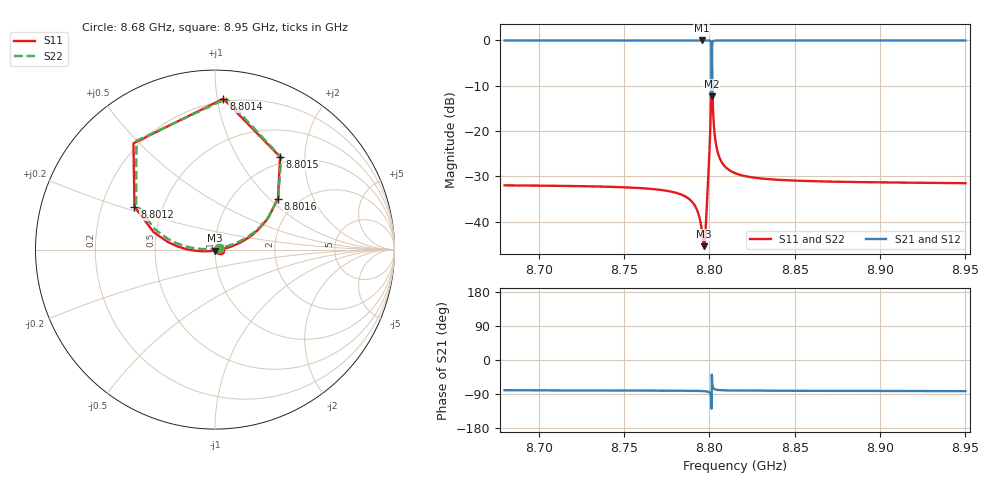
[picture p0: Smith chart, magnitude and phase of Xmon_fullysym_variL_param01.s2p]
! Sonnet Data File
! From: emgraph Version : 16.52
! From Project: 171117_Xmon_fullysym
! Data is De-embedded
! Data File Written: 11/26/2017 17:14:22
!< HDATE 11/22/2017 16:48:52
!< MDATE 11/23/2017 10:16:42
!< PARAMS
!< Lj = 11.0
!< Gap = 1.0
!< Pwid = 2000.0
!< Airgap = 6.0
!< Width = 10.0
!< Lj1 = 10.0
!< END PARAMS
# GHZ S MA R 50.90000
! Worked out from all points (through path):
!   2701 points, 8.68 GHz to 8.95 GHz, reference 50.9 ohm
!   highest |S21| = 0.00 dB at 8.7954 GHz (marker M1); lowest = -12.3 dB at 8.8014 GHz (marker M2)
!   lowest |S11| = -45.4 dB at 8.7969 GHz (marker M3), VSWR 1.01, Z = 51 - j0.542 ohm
!   |S11| at or under -10 dB: start of sweep to 8.8011 GHz; 8.8017 GHz to end of sweep
!   |S22| runs from -45.0 to -1.5 dB; largest |S21 - S12| = 6.2e-11
!   S11 on the Smith chart (normalised r, x): 8.68 GHz: 1.05, -0.00; 8.8012 GHz: 0.34, +0.22; 8.8014 GHz: 0.18, +1.04; 8.8015 GHz: 0.89, +1.54; 8.8016 GHz: 1.58, +1.13; 8.95 GHz: 1.05, -0.00
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8.68  0.02524 -1.4  0.9997 -79.8  0.9997 -79.8  0.02524 21.9
!< P1 F=8.68 Eeff=(6.44843488 -2.9797e-5) Z0=(50.9086135 1.17022e-4) R=0.0 C=0.0
!< P2 F=8.68 Eeff=(6.44843488 -2.9797e-5) Z0=(50.9086135 1.17022e-4) R=0.0 C=0.0
8.725  0.02472 -2.2  0.9997 -80.2  0.9997 -80.2  0.02472 21.8
8.77  0.02265 -4.1  0.9997 -80.8  0.9997 -80.8  0.02265 22.6
8.7888  0.01741 -8.9  0.9998 -81.2  0.9998 -81.2  0.01742 26.5
8.7929  0.0133 -15.1  0.9999 -81.5  0.9999 -81.5  0.01333 32.3
8.7954  0.008456 -31.2  0.9999 -81.9  0.9999 -81.9  0.008537 48.1
8.7969  0.005387 -81.0  0.9999 -82.3  0.9999 -82.3  0.005608 96.5
8.7984  0.01387 -150.1  0.9997 -83.0  0.9997 -83.0  0.01406 162.2
8.7995  0.03571 -165.8  0.9987 -84.3  0.9987 -84.3  0.0359 175.2
8.8004  0.09132 -174.9  0.9935 -87.5  0.9935 -87.5  0.0916 177.0
8.8012  0.5082 152.0  0.8053 -112.7  0.8053 -112.7  0.5092 149.7
8.8014  0.8417 86.8  0.2414 -38.5  0.2414 -38.5  0.8432 85.7
8.8015  0.6313 54.9  0.6898 -43.6  0.6898 -43.6  0.6324 54.3
8.8016  0.4518 39.1  0.8569 -55.5  0.8569 -55.5  0.4525 39.0
8.8022  0.1612 16.8  0.9838 -73.0  0.9838 -73.0  0.1614 19.3
8.8027  0.111 12.5  0.9926 -76.0  0.9926 -76.0  0.1112 16.8
8.8037  0.0747 8.7  0.9968 -78.1  0.9968 -78.1  0.07476 15.8
8.8055  0.05352 5.6  0.9984 -79.3  0.9984 -79.3  0.05354 16.1
8.815  0.03443 1.0  0.9994 -80.5  0.9994 -80.5  0.03443 18.1
8.86  0.02807 -2.0  0.9996 -81.3  0.9996 -81.3  0.02807 19.5
8.905  0.02716 -3.0  0.9996 -81.7  0.9996 -81.7  0.02716 19.5
8.95  0.02666 -3.7  0.9996 -82.2  0.9996 -82.2  0.02666 19.4
